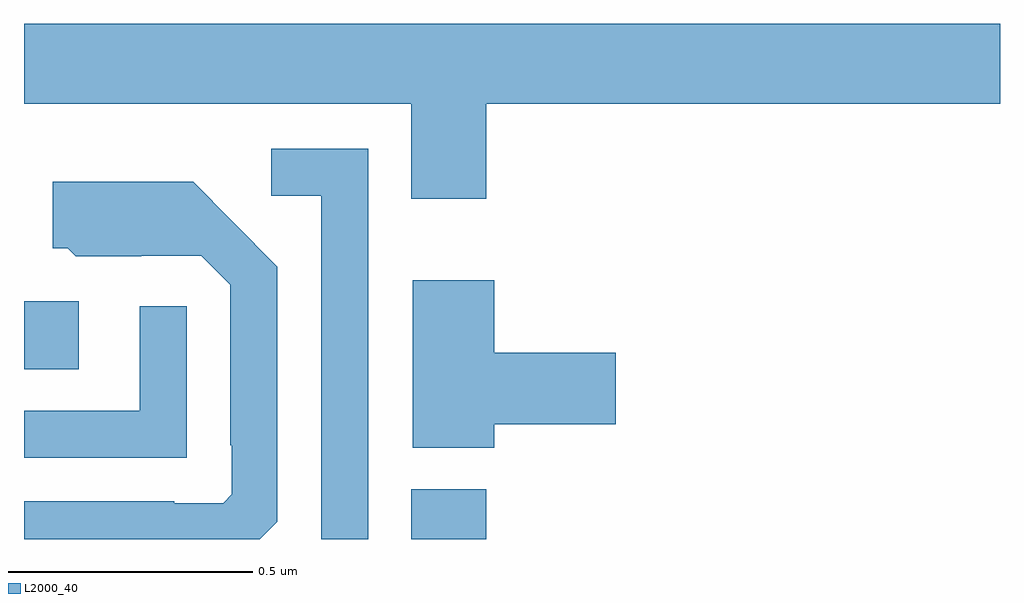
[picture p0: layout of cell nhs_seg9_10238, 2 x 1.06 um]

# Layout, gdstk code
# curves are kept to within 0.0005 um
import gdstk
lib = gdstk.Library(unit=1e-6, precision=1e-09)
def R(c, l, rs):  # rectangles x0, y0, x1, y1
    for r in rs: c.add(gdstk.rectangle(r[:2], r[2:], *l))
def P(c, l, *ps):  # polygons
    for p in ps: c.add(gdstk.Polygon(p, *l))
L2000_40 = (2000, 40)

nhs_seg9_10238 = lib.new_cell('nhs_seg9_10238')
R(nhs_seg9_10238, L2000_40, [(240.794,1223.5,240.947,1223.602), (240,1223.848,240.112,1223.988)])
P(nhs_seg9_10238, L2000_40, [(240.947,1224.392),(242,1224.392),(242,1224.556),(240,1224.556),(240,1224.392),(240.794,1224.392),(240.794,1224.198),(240.947,1224.198)],
  [(240.705,1224.3),(240.507,1224.3),(240.507,1224.204),(240.609,1224.204),(240.609,1223.5),(240.705,1223.5)],
  [(240.519,1223.536),(240.519,1224.058),(240.347,1224.232),(240.059,1224.232),(240.059,1224.096),(240.09,1224.096),(240.106,1224.08),(240.24,1224.08),(240.24,1224.081),(240.363,1224.081),(240.423,1224.021),(240.423,1223.692),(240.426,1223.692),(240.426,1223.592),(240.408,1223.574),(240.308,1223.574),(240.308,1223.578),(240,1223.578),(240,1223.5),(240.483,1223.5)],
  [(240.964,1223.735),(241.213,1223.735),(241.213,1223.882),(240.964,1223.882),(240.964,1224.031),(240.797,1224.031),(240.797,1223.687),(240.964,1223.687)],
  [(240.333,1223.977),(240.237,1223.977),(240.237,1223.763),(240,1223.763),(240,1223.667),(240.333,1223.667)])

lib.write_gds('nhs_seg9_10238.gds')
